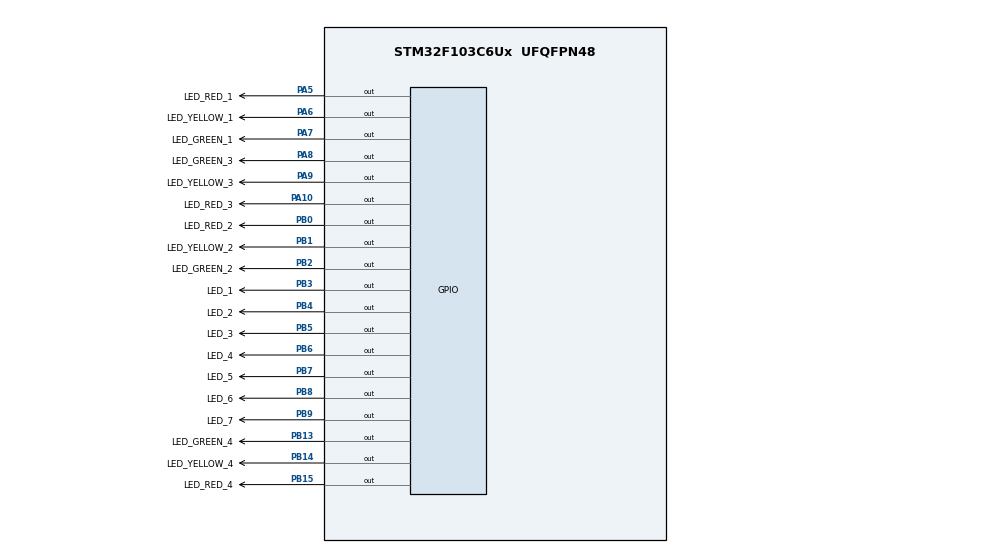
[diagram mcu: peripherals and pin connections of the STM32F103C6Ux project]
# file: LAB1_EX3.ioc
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Mcu.Family=STM32F1
Mcu.Name=STM32F103C6Ux
Mcu.Package=UFQFPN48
NVIC.PriorityGroup=NVIC_PRIORITYGROUP_4
PA10.GPIO_Label=LED_RED_3
PA10.Signal=GPIO_Output
PA5.GPIO_Label=LED_RED_1
PA5.Signal=GPIO_Output
PA6.GPIO_Label=LED_YELLOW_1
PA6.Signal=GPIO_Output
PA7.GPIO_Label=LED_GREEN_1
PA7.Signal=GPIO_Output
PA8.GPIO_Label=LED_GREEN_3
PA8.Signal=GPIO_Output
PA9.GPIO_Label=LED_YELLOW_3
PA9.Signal=GPIO_Output
PB0.GPIO_Label=LED_RED_2
PB0.Signal=GPIO_Output
PB1.GPIO_Label=LED_YELLOW_2
PB1.Signal=GPIO_Output
PB13.GPIO_Label=LED_GREEN_4 
PB13.Signal=GPIO_Output
PB14.GPIO_Label=LED_YELLOW_4
PB14.Signal=GPIO_Output
PB15.GPIO_Label=LED_RED_4
PB15.Signal=GPIO_Output
PB2.GPIO_Label=LED_GREEN_2
PB2.Signal=GPIO_Output
PB3.GPIO_Label=LED_1
PB3.Signal=GPIO_Output
PB4.GPIO_Label=LED_2
PB4.Signal=GPIO_Output
PB5.GPIO_Label=LED_3
PB5.Signal=GPIO_Output
PB6.GPIO_Label=LED_4
PB6.Signal=GPIO_Output
PB7.GPIO_Label=LED_5
PB7.Signal=GPIO_Output
PB8.GPIO_Label=LED_6
PB8.Signal=GPIO_Output
PB9.GPIO_Label=LED_7
PB9.Signal=GPIO_Output
ProjectManager.HeapSize=0x200
ProjectManager.StackSize=0x400
ProjectManager.TargetToolchain=STM32CubeIDE
RCC.APB1Freq_Value=8000000
RCC.APB2Freq_Value=8000000
VP_SYS_VS_ND.Mode=No_Debug
board=custom

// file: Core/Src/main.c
/* USER CODE BEGIN Header */
/**
  ******************************************************************************
  * @file           : main.c
  * @brief          : Main program body
  ******************************************************************************
  * @attention
  *
  * <h2><center>&copy; Copyright (c) 2025 STMicroelectronics.
  * All rights reserved.</center></h2>
  *
  * This software component is licensed by ST under BSD 3-Clause license,
  * the "License"; You may not use this file except in compliance with the
  * License. You may obtain a copy of the License at:
  *                        opensource.org/licenses/BSD-3-Clause
  *
  ******************************************************************************
  */
/* USER CODE END Header */
#include "main.h"

void SystemClock_Config(void);
static void MX_GPIO_Init(void);

int main(void)
{

  /* MCU Configuration--------------------------------------------------------*/

  /* Reset of all peripherals, Initializes the Flash interface and the Systick. */
  HAL_Init();

  /* Configure the system clock */
  SystemClock_Config();

  /* Initialize all configured peripherals */
  MX_GPIO_Init();

  /* Infinite loop */
  /* USER CODE BEGIN WHILE */
  void display7SEG(int num){
	  const uint8_t segTable[10][7] = {
			  {0,0,0,0,0,0,1},
			  {1,0,0,1,1,1,1},
			  {0,0,1,0,0,1,0},
			  {0,0,0,0,1,1,0},
			  {1,0,0,1,1,0,0},
			  {0,1,0,0,1,0,0},
			  {0,1,0,0,0,0,0},
			  {0,0,0,1,1,1,1},
			  {0,0,0,0,0,0,0},
			  {0,0,0,0,1,0,0},
	  };
	  const uint16_t pins[7] = {
			  GPIO_PIN_3, // a
			          GPIO_PIN_4, // b
			          GPIO_PIN_5, // c
			          GPIO_PIN_6, // d
			          GPIO_PIN_7, // e
			          GPIO_PIN_8, // f
			          GPIO_PIN_9  // g
	  };
	  for (int i = 0; i < 7; i++) {
	          if (segTable[num][i] == 0) {
	              HAL_GPIO_WritePin(GPIOB, pins[i], RESET);
	          } else {
	              HAL_GPIO_WritePin(GPIOB, pins[i], SET);
	          }
	      }
  }

  int counter = 10;

  while (1)
  {

	  display7SEG(counter);
	  HAL_Delay(1000);
	  //count--;
	  counter --;
   }

    /* USER CODE END WHILE */

}

void SystemClock_Config(void)
{
  RCC_OscInitTypeDef RCC_OscInitStruct = {0};
  RCC_ClkInitTypeDef RCC_ClkInitStruct = {0};

  /** Initializes the RCC Oscillators according to the specified parameters
  * in the RCC_OscInitTypeDef structure.
  */
  RCC_OscInitStruct.OscillatorType = RCC_OSCILLATORTYPE_HSI;
  RCC_OscInitStruct.HSIState = RCC_HSI_ON;
  RCC_OscInitStruct.HSICalibrationValue = RCC_HSICALIBRATION_DEFAULT;
  RCC_OscInitStruct.PLL.PLLState = RCC_PLL_NONE;
  if (HAL_RCC_OscConfig(&RCC_OscInitStruct) != HAL_OK)
  {
    Error_Handler();
  }
  /** Initializes the CPU, AHB and APB buses clocks
  */
  RCC_ClkInitStruct.ClockType = RCC_CLOCKTYPE_HCLK|RCC_CLOCKTYPE_SYSCLK
                              |RCC_CLOCKTYPE_PCLK1|RCC_CLOCKTYPE_PCLK2;
  RCC_ClkInitStruct.SYSCLKSource = RCC_SYSCLKSOURCE_HSI;
  RCC_ClkInitStruct.AHBCLKDivider = RCC_SYSCLK_DIV1;
  RCC_ClkInitStruct.APB1CLKDivider = RCC_HCLK_DIV1;
  RCC_ClkInitStruct.APB2CLKDivider = RCC_HCLK_DIV1;

  if (HAL_RCC_ClockConfig(&RCC_ClkInitStruct, FLASH_LATENCY_0) != HAL_OK)
  {
    Error_Handler();
  }
}

static void MX_GPIO_Init(void)
{
  GPIO_InitTypeDef GPIO_InitStruct = {0};

  /* GPIO Ports Clock Enable */
  __HAL_RCC_GPIOA_CLK_ENABLE();
  __HAL_RCC_GPIOB_CLK_ENABLE();

  /*Configure GPIO pin Output Level */
  HAL_GPIO_WritePin(GPIOA, LED_RED_1_Pin|LED_YELLOW_1_Pin|LED_GREEN_1_Pin|LED_GREEN_3_Pin
                          |LED_YELLOW_3_Pin|LED_RED_3_Pin, GPIO_PIN_RESET);

  /*Configure GPIO pin Output Level */
  HAL_GPIO_WritePin(GPIOB, LED_RED_2_Pin|LED_YELLOW_2_Pin|LED_GREEN_2_Pin|LED_GREEN_4_Pin
                          |LED_YELLOW_4_Pin|LED_RED_4_Pin|LED_1_Pin|LED_2_Pin
                          |LED_3_Pin|LED_4_Pin|LED_5_Pin|LED_6_Pin
                          |LED_7_Pin, GPIO_PIN_RESET);

  /*Configure GPIO pins : LED_RED_1_Pin LED_YELLOW_1_Pin LED_GREEN_1_Pin LED_GREEN_3_Pin
                           LED_YELLOW_3_Pin LED_RED_3_Pin */
  GPIO_InitStruct.Pin = LED_RED_1_Pin|LED_YELLOW_1_Pin|LED_GREEN_1_Pin|LED_GREEN_3_Pin
                          |LED_YELLOW_3_Pin|LED_RED_3_Pin;
  GPIO_InitStruct.Mode = GPIO_MODE_OUTPUT_PP;
  GPIO_InitStruct.Pull = GPIO_NOPULL;
  GPIO_InitStruct.Speed = GPIO_SPEED_FREQ_LOW;
  HAL_GPIO_Init(GPIOA, &GPIO_InitStruct);

  /*Configure GPIO pins : LED_RED_2_Pin LED_YELLOW_2_Pin LED_GREEN_2_Pin LED_GREEN_4_Pin
                           LED_YELLOW_4_Pin LED_RED_4_Pin LED_1_Pin LED_2_Pin
                           LED_3_Pin LED_4_Pin LED_5_Pin LED_6_Pin
                           LED_7_Pin */
  GPIO_InitStruct.Pin = LED_RED_2_Pin|LED_YELLOW_2_Pin|LED_GREEN_2_Pin|LED_GREEN_4_Pin
                          |LED_YELLOW_4_Pin|LED_RED_4_Pin|LED_1_Pin|LED_2_Pin
                          |LED_3_Pin|LED_4_Pin|LED_5_Pin|LED_6_Pin
                          |LED_7_Pin;
  GPIO_InitStruct.Mode = GPIO_MODE_OUTPUT_PP;
  GPIO_InitStruct.Pull = GPIO_NOPULL;
  GPIO_InitStruct.Speed = GPIO_SPEED_FREQ_LOW;
  HAL_GPIO_Init(GPIOB, &GPIO_InitStruct);

}

void Error_Handler(void)
{
  __disable_irq();
  while (1)
  {
  }
}

/************************ (C) COPYRIGHT STMicroelectronics *****END OF FILE****/
